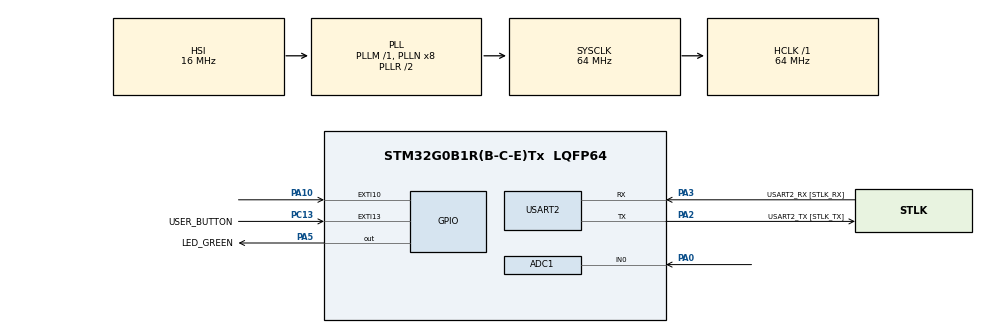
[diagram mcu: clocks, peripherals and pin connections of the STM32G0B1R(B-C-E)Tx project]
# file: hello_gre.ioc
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ADC1.Channel-0\#ChannelRegularConversion=ADC_CHANNEL_0
ADC1.NbrOfConversionFlag=1
ADC1.Rank-0\#ChannelRegularConversion=1
ADC1.SamplingTime-0\#ChannelRegularConversion=ADC_SAMPLINGTIME_COMMON_1
ADC1.SelectedChannel=ADC_CHANNEL_0
ADC1.master=1
Mcu.Family=STM32G0
Mcu.Name=STM32G0B1R(B-C-E)Tx
Mcu.Package=LQFP64
NVIC.EXTI4_15_IRQn=true\:1\:0\:true\:false\:true\:true\:true\:true
PA0.Mode=IN0
PA0.Signal=ADC1_IN0
PA10.Signal=GPXTI10
PA13.GPIO_Label=TMS
PA13.Mode=Serial_Wire
PA13.Signal=SYS_SWDIO
PA14-BOOT0.GPIO_Label=TCK
PA14-BOOT0.Mode=Serial_Wire
PA14-BOOT0.Signal=SYS_SWCLK
PA2.GPIO_Label=USART2_TX [STLK_TX]
PA2.Mode=Asynchronous
PA2.Signal=USART2_TX
PA3.GPIO_Label=USART2_RX [STLK_RX]
PA3.Mode=Asynchronous
PA3.Signal=USART2_RX
PA5.GPIO_Label=LED_GREEN
PA5.GPIO_Speed=GPIO_SPEED_FREQ_HIGH
PA5.Signal=GPIO_Output
PC13.GPIO_Label=USER_BUTTON
PC13.GPIO_ModeDefaultEXTI=GPIO_MODE_IT_FALLING
PC13.Signal=GPXTI13
PC14-OSC32_IN\ (PC14).Mode=LSE-External-Oscillator
PC14-OSC32_IN\ (PC14).Signal=RCC_OSC32_IN
PC15-OSC32_OUT\ (PC15).Mode=LSE-External-Oscillator
PC15-OSC32_OUT\ (PC15).Signal=RCC_OSC32_OUT
PF0-OSC_IN\ (PF0).GPIO_Label=MCO
PF0-OSC_IN\ (PF0).Mode=HSE-External-Clock-Source
PF0-OSC_IN\ (PF0).Signal=RCC_OSC_IN
ProjectManager.HeapSize=0x200
ProjectManager.StackSize=0x400
ProjectManager.TargetToolchain=STM32CubeIDE
RCC.ADCFreq_Value=64000000
RCC.AHBFreq_Value=64000000
RCC.CortexFreq_Value=64000000
RCC.EXTERNAL_CLOCK_VALUE=12288000
RCC.HCLKFreq_Value=64000000
RCC.HSE_VALUE=8000000
RCC.HSI48_VALUE=48000000
RCC.HSI_VALUE=16000000
RCC.SYSCLKFreq_VALUE=64000000
RCC.SYSCLKSource=RCC_SYSCLKSOURCE_PLLCLK
RCC.USBFreq_Value=48000000
RCC.VCOOutputFreq_Value=128000000
USART2.VirtualMode-Asynchronous=VM_ASYNC
board=NUCLEO-G0B1RE

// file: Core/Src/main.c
/* USER CODE BEGIN Header */
/**
  ******************************************************************************
  * @file           : main.c
  * @brief          : Main program body
  ******************************************************************************
  * @attention
  *
  * Copyright (c) 2023 STMicroelectronics.
  * All rights reserved.
  *
  * This software is licensed under terms that can be found in the LICENSE file
  * in the root directory of this software component.
  * If no LICENSE file comes with this software, it is provided AS-IS.
  *
  ******************************************************************************
  */
/* USER CODE END Header */
#include "main.h"

/* USER CODE BEGIN Includes */
#include <stdio.h>
#include <string.h>
/* USER CODE END Includes */

ADC_HandleTypeDef hadc1;

UART_HandleTypeDef huart2;

void SystemClock_Config(void);
static void MX_GPIO_Init(void);
static void MX_USART2_UART_Init(void);
static void MX_ADC1_Init(void);
/* USER CODE BEGIN PFP */
uint8_t modeSelection = 0;
uint8_t pData[3] = {1,2,3};
char msg[] = "Hello world\n";

void HAL_GPIO_EXTI_Falling_Callback(uint16_t GPIO_Pin)
{
  /* Prevent unused argument(s) compilation warning */
  UNUSED(GPIO_Pin);

  /* NOTE: This function should not be modified, when the callback is needed,
           the HAL_GPIO_EXTI_Falling_Callback could be implemented in the user file
   */
  if(GPIO_Pin == USER_BUTTON_Pin){
	  modeSelection +=1;
	  if(modeSelection > 2) modeSelection = 0;

  }
}

/* USER CODE END PFP */

int main(void)
{
  /* USER CODE BEGIN 1 */
	uint16_t raw;
	char msg[10];

  /* USER CODE END 1 */

  /* MCU Configuration--------------------------------------------------------*/

  /* Reset of all peripherals, Initializes the Flash interface and the Systick. */
  HAL_Init();

  /* Configure the system clock */
  SystemClock_Config();

  /* Initialize all configured peripherals */
  MX_GPIO_Init();
  MX_USART2_UART_Init();
  MX_ADC1_Init();

  /* Infinite loop */
  /* USER CODE BEGIN WHILE */
  while (1)
  {
//	  HAL_GPIO_WritePin(GPIOA, GPIO_PIN_5, GPIO_PIN_SET);
//	  HAL_Delay(1000);
//	  HAL_GPIO_WritePin(GPIOA, GPIO_PIN_5, GPIO_PIN_RESET);
//	  HAL_Delay(1000);

//		if(modeSelection == 0) {HAL_GPIO_WritePin(GPIOA, LED_GREEN_Pin, GPIO_PIN_RESET);}
//		else if(modeSelection == 1) {HAL_GPIO_WritePin(GPIOA, LED_GREEN_Pin, GPIO_PIN_SET);}
//		else {HAL_GPIO_TogglePin(GPIOA, LED_GREEN_Pin);}
//		HAL_Delay(500);

		//HAL_UART_Transmit(UART_HandleTypeDef *huart, const uint8_t *pData, uint16_t Size, uint32_t Timeout);
		//HAL_UART_Transmit(&huart2, (const uint8_t*) msg, 13, 100);
		//HAL_UART_Transmit(&huart2, (const uint8_t*)pData, 12, 100);

	  // Test: Set GPIO pin high
	  HAL_GPIO_WritePin(GPIOA, GPIO_PIN_10, GPIO_PIN_SET);

	  // Get ADC value
	  HAL_ADC_Start(&hadc1);
	  HAL_ADC_PollForConversion(&hadc1, HAL_MAX_DELAY);
	  raw = HAL_ADC_GetValue(&hadc1);

	  // Test: Set GPIO pin low
	  HAL_GPIO_WritePin(GPIOA, GPIO_PIN_10, GPIO_PIN_RESET);

	  // convert to string and print
	  sprintf(msg, "%hu\r\n", raw);
	  HAL_UART_Transmit(&huart2, (uint8_t *)msg, strlen(msg), HAL_MAX_DELAY);

	  HAL_Delay(1);

    /* USER CODE END WHILE */

  }
}

void SystemClock_Config(void)
{
  RCC_OscInitTypeDef RCC_OscInitStruct = {0};
  RCC_ClkInitTypeDef RCC_ClkInitStruct = {0};

  /** Configure the main internal regulator output voltage
  */
  HAL_PWREx_ControlVoltageScaling(PWR_REGULATOR_VOLTAGE_SCALE1);

  /** Initializes the RCC Oscillators according to the specified parameters
  * in the RCC_OscInitTypeDef structure.
  */
  RCC_OscInitStruct.OscillatorType = RCC_OSCILLATORTYPE_HSI;
  RCC_OscInitStruct.HSIState = RCC_HSI_ON;
  RCC_OscInitStruct.HSIDiv = RCC_HSI_DIV1;
  RCC_OscInitStruct.HSICalibrationValue = RCC_HSICALIBRATION_DEFAULT;
  RCC_OscInitStruct.PLL.PLLState = RCC_PLL_ON;
  RCC_OscInitStruct.PLL.PLLSource = RCC_PLLSOURCE_HSI;
  RCC_OscInitStruct.PLL.PLLM = RCC_PLLM_DIV1;
  RCC_OscInitStruct.PLL.PLLN = 8;
  RCC_OscInitStruct.PLL.PLLP = RCC_PLLP_DIV2;
  RCC_OscInitStruct.PLL.PLLQ = RCC_PLLQ_DIV2;
  RCC_OscInitStruct.PLL.PLLR = RCC_PLLR_DIV2;
  if (HAL_RCC_OscConfig(&RCC_OscInitStruct) != HAL_OK)
  {
    Error_Handler();
  }

  /** Initializes the CPU, AHB and APB buses clocks
  */
  RCC_ClkInitStruct.ClockType = RCC_CLOCKTYPE_HCLK|RCC_CLOCKTYPE_SYSCLK
                              |RCC_CLOCKTYPE_PCLK1;
  RCC_ClkInitStruct.SYSCLKSource = RCC_SYSCLKSOURCE_PLLCLK;
  RCC_ClkInitStruct.AHBCLKDivider = RCC_SYSCLK_DIV1;
  RCC_ClkInitStruct.APB1CLKDivider = RCC_HCLK_DIV1;

  if (HAL_RCC_ClockConfig(&RCC_ClkInitStruct, FLASH_LATENCY_2) != HAL_OK)
  {
    Error_Handler();
  }
}

static void MX_ADC1_Init(void)
{

  ADC_ChannelConfTypeDef sConfig = {0};

  /** Configure the global features of the ADC (Clock, Resolution, Data Alignment and number of conversion)
  */
  hadc1.Instance = ADC1;
  hadc1.Init.ClockPrescaler = ADC_CLOCK_SYNC_PCLK_DIV2;
  hadc1.Init.Resolution = ADC_RESOLUTION_12B;
  hadc1.Init.DataAlign = ADC_DATAALIGN_RIGHT;
  hadc1.Init.ScanConvMode = ADC_SCAN_DISABLE;
  hadc1.Init.EOCSelection = ADC_EOC_SINGLE_CONV;
  hadc1.Init.LowPowerAutoWait = DISABLE;
  hadc1.Init.LowPowerAutoPowerOff = DISABLE;
  hadc1.Init.ContinuousConvMode = DISABLE;
  hadc1.Init.NbrOfConversion = 1;
  hadc1.Init.DiscontinuousConvMode = DISABLE;
  hadc1.Init.ExternalTrigConv = ADC_SOFTWARE_START;
  hadc1.Init.ExternalTrigConvEdge = ADC_EXTERNALTRIGCONVEDGE_NONE;
  hadc1.Init.DMAContinuousRequests = DISABLE;
  hadc1.Init.Overrun = ADC_OVR_DATA_PRESERVED;
  hadc1.Init.SamplingTimeCommon1 = ADC_SAMPLETIME_1CYCLE_5;
  hadc1.Init.SamplingTimeCommon2 = ADC_SAMPLETIME_1CYCLE_5;
  hadc1.Init.OversamplingMode = DISABLE;
  hadc1.Init.TriggerFrequencyMode = ADC_TRIGGER_FREQ_HIGH;
  if (HAL_ADC_Init(&hadc1) != HAL_OK)
  {
    Error_Handler();
  }

  /** Configure Regular Channel
  */
  sConfig.Channel = ADC_CHANNEL_0;
  sConfig.Rank = ADC_REGULAR_RANK_1;
  sConfig.SamplingTime = ADC_SAMPLINGTIME_COMMON_1;
  if (HAL_ADC_ConfigChannel(&hadc1, &sConfig) != HAL_OK)
  {
    Error_Handler();
  }

}

static void MX_USART2_UART_Init(void)
{

  huart2.Instance = USART2;
  huart2.Init.BaudRate = 115200;
  huart2.Init.WordLength = UART_WORDLENGTH_8B;
  huart2.Init.StopBits = UART_STOPBITS_1;
  huart2.Init.Parity = UART_PARITY_NONE;
  huart2.Init.Mode = UART_MODE_TX_RX;
  huart2.Init.HwFlowCtl = UART_HWCONTROL_NONE;
  huart2.Init.OverSampling = UART_OVERSAMPLING_16;
  huart2.Init.OneBitSampling = UART_ONE_BIT_SAMPLE_DISABLE;
  huart2.Init.ClockPrescaler = UART_PRESCALER_DIV1;
  huart2.AdvancedInit.AdvFeatureInit = UART_ADVFEATURE_NO_INIT;
  if (HAL_UART_Init(&huart2) != HAL_OK)
  {
    Error_Handler();
  }
  if (HAL_UARTEx_SetTxFifoThreshold(&huart2, UART_TXFIFO_THRESHOLD_1_8) != HAL_OK)
  {
    Error_Handler();
  }
  if (HAL_UARTEx_SetRxFifoThreshold(&huart2, UART_RXFIFO_THRESHOLD_1_8) != HAL_OK)
  {
    Error_Handler();
  }
  if (HAL_UARTEx_DisableFifoMode(&huart2) != HAL_OK)
  {
    Error_Handler();
  }

}

static void MX_GPIO_Init(void)
{
  GPIO_InitTypeDef GPIO_InitStruct = {0};

  /* GPIO Ports Clock Enable */
  __HAL_RCC_GPIOC_CLK_ENABLE();
  __HAL_RCC_GPIOF_CLK_ENABLE();
  __HAL_RCC_GPIOA_CLK_ENABLE();

  /*Configure GPIO pin Output Level */
  HAL_GPIO_WritePin(LED_GREEN_GPIO_Port, LED_GREEN_Pin, GPIO_PIN_RESET);

  /*Configure GPIO pin : USER_BUTTON_Pin */
  GPIO_InitStruct.Pin = USER_BUTTON_Pin;
  GPIO_InitStruct.Mode = GPIO_MODE_IT_FALLING;
  GPIO_InitStruct.Pull = GPIO_NOPULL;
  HAL_GPIO_Init(USER_BUTTON_GPIO_Port, &GPIO_InitStruct);

  /*Configure GPIO pin : LED_GREEN_Pin */
  GPIO_InitStruct.Pin = LED_GREEN_Pin;
  GPIO_InitStruct.Mode = GPIO_MODE_OUTPUT_PP;
  GPIO_InitStruct.Pull = GPIO_NOPULL;
  GPIO_InitStruct.Speed = GPIO_SPEED_FREQ_HIGH;
  HAL_GPIO_Init(LED_GREEN_GPIO_Port, &GPIO_InitStruct);

  /*Configure GPIO pin : PA10 */
  GPIO_InitStruct.Pin = GPIO_PIN_10;
  GPIO_InitStruct.Mode = GPIO_MODE_IT_RISING;
  GPIO_InitStruct.Pull = GPIO_NOPULL;
  HAL_GPIO_Init(GPIOA, &GPIO_InitStruct);

  /* EXTI interrupt init*/
  HAL_NVIC_SetPriority(EXTI4_15_IRQn, 1, 0);
  HAL_NVIC_EnableIRQ(EXTI4_15_IRQn);

}

void Error_Handler(void)
{
  __disable_irq();
  while (1)
  {
  }
}
